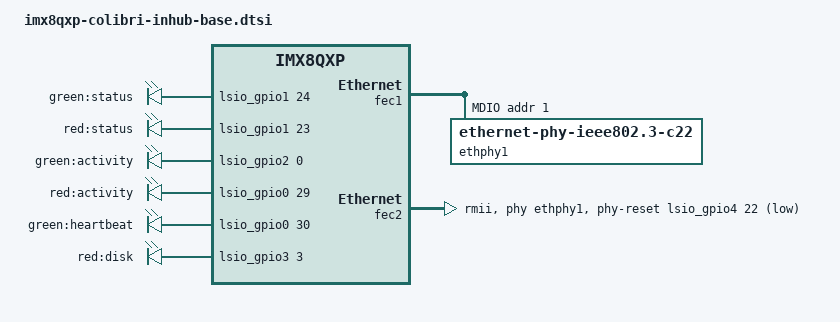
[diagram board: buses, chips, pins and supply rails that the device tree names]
// SPDX-License-Identifier: GPL-2.0-only
/*
 * Copyright 2026 in.hub GmbH
 */

/dts-v1/;

#include "imx8qxp-colibri-inhub.dtsi"

/ {
	leds {
		compatible = "gpio-leds";
		pinctrl-names = "default";
		pinctrl-0 = <&pinctrl_leds>;

		led_green_status: green-status {
			label = "green:status";
			gpios = <&lsio_gpio1 24 0x0>;
			default-state = "off";
		};

		led_red_status: red-status {
			label = "red:status";
			gpios = <&lsio_gpio1 23 0x0>;
			default-state = "off";
		};

		led_green_activity: green-activity {
			label = "green:activity";
			gpios = <&lsio_gpio2 0 0x0>;
			default-state = "off";
		};

		led_red_activity: red-activity {
			label = "red:activity";
			gpios = <&lsio_gpio0 29 0x0>;
			default-state = "off";
		};

		led_green_heartbeat: green-heartbeat {
			label = "green:heartbeat";
			gpios = <&lsio_gpio0 30 0x0>;
			default-state = "off";
			linux,default-trigger = "timer";
		};

		led_red_disk: red-disk {
			label = "red:disk";
			gpios = <&lsio_gpio3 3 0x0>;
			default-state = "off";
			linux,default-trigger = "mmc0";
		};
	};
};

&iomuxc {
	/delete-node/ i2c1grp;

	pinctrl_leds: ledsgrp {
		fsl,pins = <
			IMX8QXP_UART2_RX_LSIO_GPIO1_IO24			0x20 /* SODIMM 19 / LED_GREEN_STATUS */
			IMX8QXP_UART2_TX_LSIO_GPIO1_IO23			0x20 /* SODIMM 21 / LED_RED_STATUS */
			IMX8QXP_MIPI_DSI1_GPIO0_01_LSIO_GPIO2_IO00	0x20 /* SODIMM 23 / LED_GREEN_ACTIVITY */
			IMX8QXP_SAI1_RXD_LSIO_GPIO0_IO29			0x20 /* SODIMM 25 / LED_RED_ACTIVITY */
			IMX8QXP_SAI1_RXC_LSIO_GPIO0_IO30			0x20 /* SODIMM 27 / LED_GREEN_HEARTBEAT */
			IMX8QXP_CSI_RESET_LSIO_GPIO3_IO03			0x20 /* SODIMM 29 / LED_RED_DISK */

		>;
	};

	pinctrl_reset: resetgrp {
		fsl,pins = <
			IMX8QXP_USDHC1_CD_B_LSIO_GPIO4_IO22			0x06000040 /* SODIMM 31 / ~RESET */
		>;
	};

	pinctrl_enet2: enet2grp {
		fsl,pins = <
			IMX8QXP_ESAI0_SCKR_CONN_ENET1_RGMII_TX_CTL	0x06000020 /* SODIMM 60 / TXEN */
			IMX8QXP_SPDIF0_TX_CONN_ENET1_RGMII_RX_CTL	0x06000020 /* SODIMM 50 / RXDV */
			IMX8QXP_SPDIF0_RX_CONN_ENET1_RGMII_RXD0		0x06000020 /* SODIMM 74 / RXD0 */
			IMX8QXP_ESAI0_TX3_RX2_CONN_ENET1_RGMII_RXD1	0x06000020 /* SODIMM 46 / RXD1 */
			IMX8QXP_ESAI0_TX4_RX1_CONN_ENET1_RGMII_TXD0	0x06000020 /* SODIMM 62 / TXD0 */
			IMX8QXP_ESAI0_TX5_RX0_CONN_ENET1_RGMII_TXD1	0x06000020 /* SODIMM 48 / TXD1 */
			IMX8QXP_ESAI0_TX2_RX3_CONN_ENET1_RMII_RX_ER	0x06000020 /* SODIMM 80 / RXER */
			IMX8QXP_ESAI0_FSR_CONN_ENET1_RCLK50M_OUT	0x06000061 /* SODIMM 76 / CLK */
			IMX8QXP_USDHC1_WP_LSIO_GPIO4_IO21			0x00000060 /* SODIMM 76 / reseve unused USDHC1_WP */
		>;
	};
};

&enet0_lpcg {
	clocks = <&clk IMX_SC_R_ENET_0 IMX_SC_PM_CLK_PER>,
		<&clk IMX_SC_R_ENET_0 IMX_SC_PM_CLK_PER>,
		<&conn_axi_clk>,
		<&clk IMX_SC_R_ENET_0 IMX_SC_C_DISABLE_50>,
		<&conn_ipg_clk>,
		<&conn_ipg_clk>;
};

&enet1_lpcg {
	clocks = <&clk IMX_SC_R_ENET_1 IMX_SC_PM_CLK_PER>,
		<&clk IMX_SC_R_ENET_1 IMX_SC_PM_CLK_PER>,
		<&conn_axi_clk>,
		<&clk IMX_SC_R_ENET_1 IMX_SC_C_DISABLE_50>,
		<&conn_ipg_clk>,
		<&conn_ipg_clk>;
};

&fec1 {
	status = "okay";

	mdio {
		ethphy1: ethernet-phy@1 {
			compatible = "ethernet-phy-ieee802.3-c22";
			max-speed = <100>;
			reg = <1>;
		};
	};
};

&fec2 {
	pinctrl-names = "default";
	pinctrl-0 = <&pinctrl_enet2 &pinctrl_reset>;
	phy-mode = "rmii";
	phy-handle = <&ethphy1>;
	status = "okay";
	phy-reset-gpios = <&lsio_gpio4 22 GPIO_ACTIVE_LOW>;
	phy-reset-duration = <10>;

};

&i2c1 {
	status = "disabled";
	/delete-property/ pinctrl-0;
};

&lsio_gpio0 {
	gpio-line-names = "",
			  "",
			  "",
			  "",
			  "",
			  "",
			  "",
			  "",
			  "",
			  "",
			  "",
			  "",
			  "",
			  "",
			  "",
			  "",
			  "",
			  "",
			  "",
			  "",
			  "",
			  "",
			  "",
			  "",
			  "",
			  "",
			  "",
			  "",
			  "",
			  "LED_RED_ACTIVITY",
			  "LED_GREEN_HEARTBEAT";
};

&lsio_gpio1 {
	gpio-line-names = "",
			  "",
			  "",
			  "",
			  "",
			  "",
			  "",
			  "",
			  "",
			  "",
			  "",
			  "",
			  "",
			  "",
			  "",
			  "",
			  "",
			  "",
			  "",
			  "",
			  "",
			  "",
			  "",
			  "LED_RED_STATUS",
			  "LED_GREEN_STATUS";
};

&lsio_gpio2 {
	gpio-line-names = "LED_GREEN_ACTIVITY";
};

&lsio_gpio3 {
	gpio-line-names = "",
			  "",
			  "",
			  "LED_RED_DISK";
};

&lsio_gpio4 {
	gpio-line-names = "",
			  "",
			  "",
			  "USBH_VBUS",
			  "",
			  "",
			  "",
			  "",
			  "",
			  "",
			  "",
			  "",
			  "",
			  "",
			  "",
			  "",
			  "",
			  "",
			  "",
			  "",
			  "",
			  "",
			  "FEC2_PHY_RESET";
};
